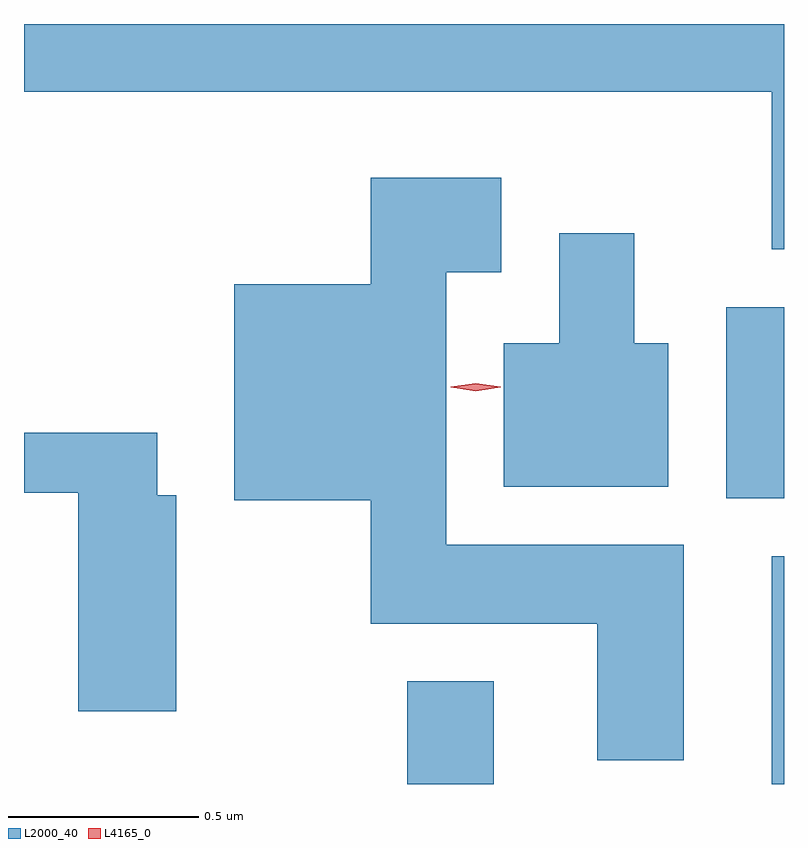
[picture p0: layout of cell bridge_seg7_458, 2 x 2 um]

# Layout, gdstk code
import gdstk
lib = gdstk.Library(unit=1e-6, precision=1e-09)
def R(c, l, rs):  # rectangles x0, y0, x1, y1
    for r in rs: c.add(gdstk.rectangle(r[:2], r[2:], *l))
def P(c, l, *ps):  # polygons
    for p in ps: c.add(gdstk.Polygon(p, *l))
L2000_40 = (2000, 40)
L4165_0 = (4165, 0)

bridge_seg7_458 = lib.new_cell('bridge_seg7_458')
R(bridge_seg7_458, L2000_40, [(1231.041,1670.314,1231.269,1670.584), (1232.001,1670.314,1232.033,1670.914), (1231.881,1671.066,1232.033,1671.569)])
P(bridge_seg7_458, L2000_40, [(1232.033,1672.314),(1230.033,1672.314),(1230.033,1672.136),(1232.001,1672.136),(1232.001,1671.721),(1232.033,1671.721)],
  [(1231.769,1670.944),(1231.144,1670.944),(1231.144,1671.661),(1231.289,1671.661),(1231.289,1671.909),(1230.946,1671.909),(1230.946,1671.629),(1230.586,1671.629),(1230.586,1671.061),(1230.946,1671.061),(1230.946,1670.736),(1231.541,1670.736),(1231.541,1670.376),(1231.769,1670.376)],
  [(1231.729,1671.474),(1231.639,1671.474),(1231.639,1671.764),(1231.441,1671.764),(1231.441,1671.474),(1231.296,1671.474),(1231.296,1671.096),(1231.729,1671.096)],
  [(1230.434,1671.074),(1230.384,1671.074),(1230.384,1671.239),(1230.033,1671.239),(1230.033,1671.081),(1230.176,1671.081),(1230.176,1670.506),(1230.434,1670.506)])
P(bridge_seg7_458, L4165_0, [(1231.222,1671.348),(1231.156,1671.358),(1231.156,1671.358),(1231.156,1671.359),(1231.222,1671.368),(1231.288,1671.359),(1231.288,1671.358),(1231.288,1671.358)])

lib.write_gds('bridge_seg7_458.gds')
